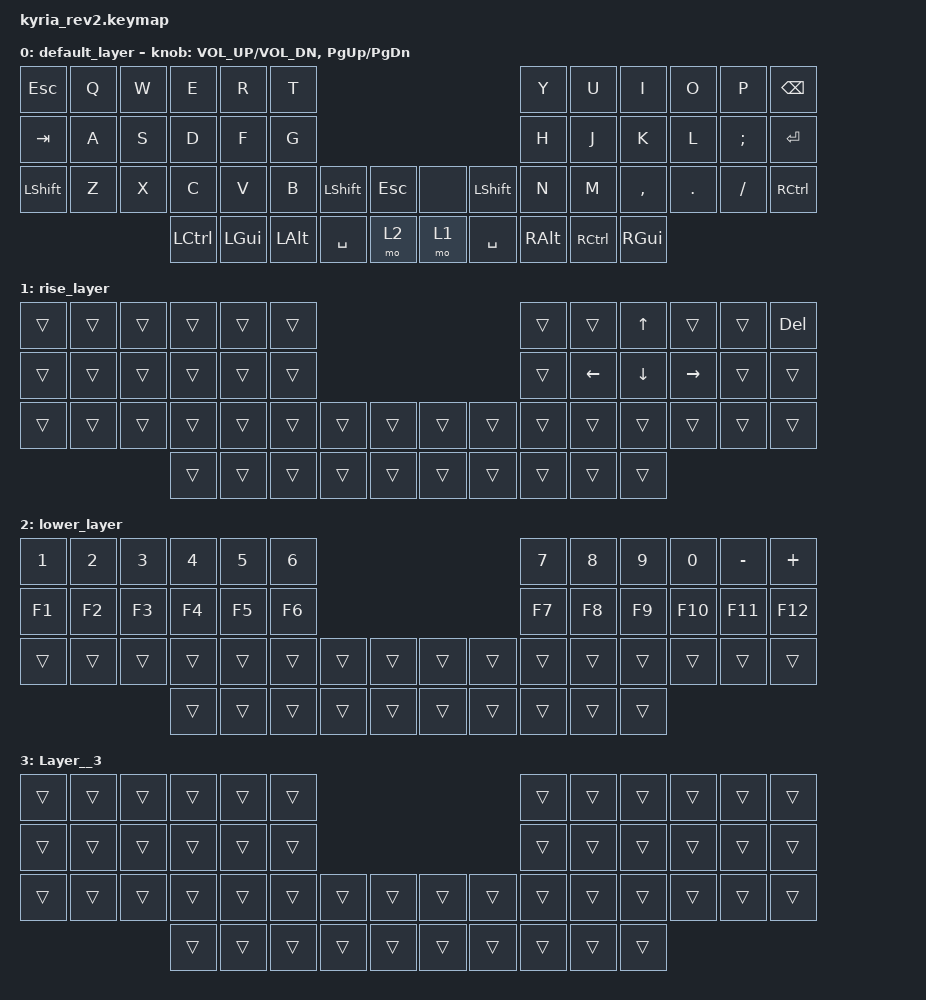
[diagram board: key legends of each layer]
/*
 * Copyright (c) 2020 The ZMK Contributors
 *
 * SPDX-License-Identifier: MIT
 */

#include <behaviors.dtsi>
#include <dt-bindings/zmk/keys.h>

/ {
    keymap {
        compatible = "zmk,keymap";

        default_layer {
            // ---------------------------------------------------------------------------------------------------------------------------------
            // |      TAB  |  Q  |  W  |  E   |  R   |  T   |                                          |  Y   |  U    |  I    |  O   |   P   |   backspace  |
            // |   TAB |  A  |  S  |  D   |  F   |  G   |                                          |  H   |  J    |  K    |  L   |   ;   |   enter  |
            // |     SHIFT |  Z  |  X  |  C   |  V   |  B   | L SHIFT |    ESC   |  | L SHIFT | L SHIFT |  N   |  M    |  ,    |  .   |   /   | CTRL |
            //                         | CTRL | GUI  | RET  |  SPACE  | NUMBER|  |   SL NAVI   |  SPACE  | TAB  | BSPC  | R-ALT |

            bindings = <
   &kp ESC   &kp Q   &kp W      &kp E     &kp R         &kp T                                            &kp Y      &kp U          &kp I    &kp O     &kp P   &kp BSPC
   &kp TAB   &kp A   &kp S      &kp D     &kp F         &kp G                                            &kp H      &kp J          &kp K    &kp L  &kp SEMI    &kp RET
 &kp LSHFT   &kp Z   &kp X      &kp C     &kp V         &kp B  &kp LSHFT  &kp ESC   &none  &kp LSHFT     &kp N      &kp M      &kp COMMA  &kp DOT  &kp FSLH  &kp RCTRL
                            &kp LCTRL  &kp LGUI  &kp LEFT_ALT  &kp SPACE    &mo 2   &mo 1  &kp SPACE  &kp RALT  &kp RCTRL  &kp RIGHT_GUI
            >;

            sensor-bindings = <&inc_dec_kp C_VOL_UP C_VOL_DN &inc_dec_kp PG_UP PG_DN>;
        };

        rise_layer {
            bindings = <
 &trans  &trans  &trans  &trans  &trans  &trans                                  &trans    &trans    &kp UP     &trans  &trans  &kp DEL
 &trans  &trans  &trans  &trans  &trans  &trans                                  &trans  &kp LEFT  &kp DOWN  &kp RIGHT  &trans   &trans
 &trans  &trans  &trans  &trans  &trans  &trans  &trans  &trans  &trans  &trans  &trans    &trans    &trans     &trans  &trans   &trans
                         &trans  &trans  &trans  &trans  &trans  &trans  &trans  &trans    &trans    &trans
            >;
        };

        lower_layer {
            bindings = <
 &kp NUMBER_1  &kp NUMBER_2  &kp NUMBER_3  &kp NUMBER_4  &kp NUMBER_5  &kp NUMBER_6                                  &kp NUMBER_7  &kp NUMBER_8  &kp NUMBER_9  &kp NUMBER_0  &kp MINUS  &kp PLUS
       &kp F1        &kp F2        &kp F3        &kp F4        &kp F5        &kp F6                                        &kp F7        &kp F8        &kp F9       &kp F10    &kp F11   &kp F12
       &trans        &trans        &trans        &trans        &trans        &trans  &trans  &trans  &trans  &trans        &trans        &trans        &trans        &trans     &trans    &trans
                                                 &trans        &trans        &trans  &trans  &trans  &trans  &trans        &trans        &trans        &trans
            >;
        };

        Layer__3 {
            bindings = <
 &trans  &trans  &trans  &trans  &trans  &trans                                  &trans  &trans  &trans  &trans  &trans  &trans
 &trans  &trans  &trans  &trans  &trans  &trans                                  &trans  &trans  &trans  &trans  &trans  &trans
 &trans  &trans  &trans  &trans  &trans  &trans  &trans  &trans  &trans  &trans  &trans  &trans  &trans  &trans  &trans  &trans
                         &trans  &trans  &trans  &trans  &trans  &trans  &trans  &trans  &trans  &trans
            >;
        };
    };
};
